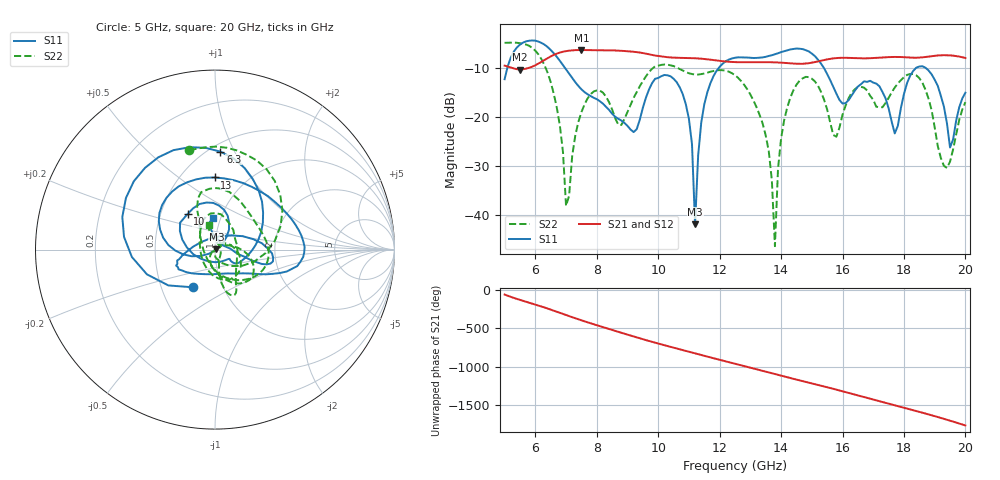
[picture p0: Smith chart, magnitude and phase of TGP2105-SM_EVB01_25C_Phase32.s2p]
! Date: Wednesday, June 05, 2013  1:51 PM
! Filename: C:\Data\Mike_Arnold\TGP2105-SM\Over_Temp\TGP2105-SM_EVB01_25C_Phase32.s2p
! Comments:
!^VDC(V):5.000
!^VDC(mA):0.015
!%Freq(GHz),S11(dB),S11(ang),S21(dB),S21(ang),S12(dB),S12(ang),S22(dB),S22(ang)
# GHz  S  DB  R  50
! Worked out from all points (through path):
!   151 points, 5 GHz to 20 GHz, reference 50 ohm
!   highest |S21| = -6.33 dB at 7.5 GHz (marker M1); lowest = -10.3 dB at 5.5 GHz (marker M2)
!   lowest |S11| = -41.9 dB at 11.2 GHz (marker M3), VSWR 1.02, Z = 50.8 + j0.119 ohm
!   |S11| at or under -10 dB: 6.968 GHz to 11.97 GHz (5.002 GHz wide, 52.8 % of centre); 15.4 GHz to 18.39 GHz (2.996 GHz wide, 17.7 % of centre); 18.71 GHz to end of sweep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
!   |S22| runs from -46.3 to -4.8 dB; largest |S21 - S12| = 0.002
!   S11 on the Smith chart (normalised r, x): 5 GHz: 0.72, -0.32; 6.3 GHz: 0.57, +0.88; 10 GHz: 0.68, +0.29; 13 GHz: 0.72, +0.69; 20 GHz: 0.92, +0.33
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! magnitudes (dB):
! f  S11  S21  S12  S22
! 5 GHz  -12.3  -9.5  -9.5  -4.9
! 5.5 GHz  -5.2  -10.3  -10.3  -4.9
! 6.3 GHz  -5.2  -8.4  -8.4  -9.4
! 7 GHz  -10.3  -6.6  -6.6  -38.1
! 7.5 GHz  -14.3  -6.3  -6.4  -19.0
! 9.2 GHz  -23.1  -6.7  -6.7  -16.1
! 10 GHz  -12.0  -7.5  -7.6  -9.5
! 10.9 GHz  -17.4  -8.0  -8.0  -10.8
! 11.1 GHz  -25.5  -8.0  -8.0  -11.2
! 11.2 GHz  -41.9  -8.0  -8.0  -11.3
! 11.5 GHz  -17.4  -8.2  -8.2  -11.1
! 12.5 GHz  -7.9  -8.8  -8.8  -11.5
! 13 GHz  -7.9  -8.8  -8.8  -15.4
! 13.6 GHz  -7.5  -8.8  -8.8  -27.0
! 13.8 GHz  -7.2  -8.9  -8.9  -46.3
! 14.1 GHz  -6.6  -9.0  -9.0  -20.6
! 15 GHz  -7.1  -8.9  -8.9  -12.2
! 15.8 GHz  -15.2  -8.0  -8.0  -24.0
! 17.5 GHz  -18.2  -7.8  -7.8  -16.1
! 18.5 GHz  -9.7  -7.9  -7.9  -12.1
! 19.4 GHz  -21.3  -7.4  -7.4  -30.4
! 20 GHz  -15.0  -8.0  -8.0  -17.0
